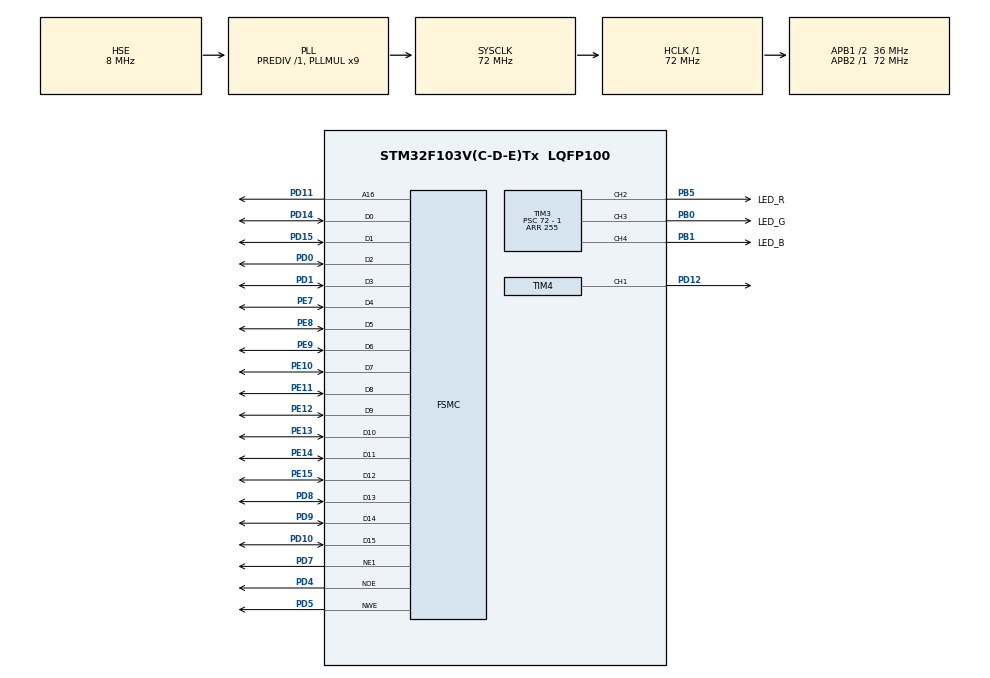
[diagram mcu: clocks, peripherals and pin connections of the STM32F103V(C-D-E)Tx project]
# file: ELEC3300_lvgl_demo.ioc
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FSMC.AddressSetupTime1=0
FSMC.BusTurnAroundDuration1=0
FSMC.DataSetupTime1=1
Mcu.Family=STM32F1
Mcu.Name=STM32F103V(C-D-E)Tx
Mcu.Package=LQFP100
NVIC.PriorityGroup=NVIC_PRIORITYGROUP_4
OSC_IN.Mode=HSE-External-Oscillator
OSC_IN.Signal=RCC_OSC_IN
OSC_OUT.Mode=HSE-External-Oscillator
OSC_OUT.Signal=RCC_OSC_OUT
PA13.Mode=Serial_Wire
PA13.Signal=SYS_JTMS-SWDIO
PA14.Mode=Serial_Wire
PA14.Signal=SYS_JTCK-SWCLK
PB0.GPIO_Label=LED_G
PB0.Signal=S_TIM3_CH3
PB1.GPIO_Label=LED_B
PB1.Signal=S_TIM3_CH4
PB5.GPIO_Label=LED_R
PB5.Signal=S_TIM3_CH2
PD0.Mode=16b-d1
PD0.Signal=FSMC_D2
PD1.Mode=16b-d1
PD1.Signal=FSMC_D3
PD10.Mode=16b-d1
PD10.Signal=FSMC_D15
PD11.Mode=A16_1
PD11.Signal=FSMC_A16
PD12.Signal=S_TIM4_CH1
PD14.Mode=16b-d1
PD14.Signal=FSMC_D0
PD15.Mode=16b-d1
PD15.Signal=FSMC_D1
PD4.Mode=Lcd1
PD4.Signal=FSMC_NOE
PD5.Mode=Lcd1
PD5.Signal=FSMC_NWE
PD7.Mode=NorPsramChipSelect1_1
PD7.Signal=FSMC_NE1
PD8.Mode=16b-d1
PD8.Signal=FSMC_D13
PD9.Mode=16b-d1
PD9.Signal=FSMC_D14
PE10.Mode=16b-d1
PE10.Signal=FSMC_D7
PE11.Mode=16b-d1
PE11.Signal=FSMC_D8
PE12.Mode=16b-d1
PE12.Signal=FSMC_D9
PE13.Mode=16b-d1
PE13.Signal=FSMC_D10
PE14.Mode=16b-d1
PE14.Signal=FSMC_D11
PE15.Mode=16b-d1
PE15.Signal=FSMC_D12
PE7.Mode=16b-d1
PE7.Signal=FSMC_D4
PE8.Mode=16b-d1
PE8.Signal=FSMC_D5
PE9.Mode=16b-d1
PE9.Signal=FSMC_D6
ProjectManager.HeapSize=0x0
ProjectManager.StackSize=0x1000
ProjectManager.TargetToolchain=Makefile
RCC.AHBFreq_Value=72000000
RCC.APB1CLKDivider=RCC_HCLK_DIV2
RCC.APB1Freq_Value=36000000
RCC.APB1TimFreq_Value=72000000
RCC.APB2Freq_Value=72000000
RCC.APB2TimFreq_Value=72000000
RCC.HCLKFreq_Value=72000000
RCC.PLLMUL=RCC_PLL_MUL9
RCC.PLLSourceVirtual=RCC_PLLSOURCE_HSE
RCC.SYSCLKFreq_VALUE=72000000
RCC.SYSCLKSource=RCC_SYSCLKSOURCE_PLLCLK
RCC.USBFreq_Value=72000000
SH.S_TIM3_CH2.0=TIM3_CH2,PWM Generation2 CH2
SH.S_TIM3_CH3.0=TIM3_CH3,PWM Generation3 CH3
SH.S_TIM3_CH4.0=TIM3_CH4,PWM Generation4 CH4
SH.S_TIM4_CH1.0=TIM4_CH1,PWM Generation1 CH1
TIM3.Channel-PWM\ Generation2\ CH2=TIM_CHANNEL_2
TIM3.Channel-PWM\ Generation3\ CH3=TIM_CHANNEL_3
TIM3.Channel-PWM\ Generation4\ CH4=TIM_CHANNEL_4
TIM3.OCPolarity_2=TIM_OCPOLARITY_LOW
TIM3.OCPolarity_3=TIM_OCPOLARITY_LOW
TIM3.OCPolarity_4=TIM_OCPOLARITY_LOW
TIM3.Period=255
TIM3.Prescaler=72 - 1
TIM3.Pulse-PWM\ Generation2\ CH2=0
TIM3.Pulse-PWM\ Generation3\ CH3=0
TIM3.Pulse-PWM\ Generation4\ CH4=0
TIM4.Channel-PWM\ Generation1\ CH1=TIM_CHANNEL_1
TIM4.OCPolarity_1=TIM_OCPOLARITY_LOW
TIM4.Period=255
TIM4.Prescaler=72 - 1
board=custom

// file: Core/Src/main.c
/* USER CODE BEGIN Header */
/**
  ******************************************************************************
  * @file           : main.c
  * @brief          : Main program body
  ******************************************************************************
  * @attention
  *
  * Copyright (c) 2024 STMicroelectronics.
  * All rights reserved.
  *
  * This software is licensed under terms that can be found in the LICENSE file
  * in the root directory of this software component.
  * If no LICENSE file comes with this software, it is provided AS-IS.
  *
  ******************************************************************************
  */
/* USER CODE END Header */
#include "main.h"
#include "tim.h"
#include "gpio.h"
#include "fsmc.h"

/* USER CODE BEGIN Includes */
#include "math.h"
#include "stdint.h"
#include "stdlib.h"

#include "lcd.h"

#include "lvgl.h"
#include "lv_demo_widgets.h"
#include "lv_port_disp.h"
#include "lv_port_indev.h"
/* USER CODE END Includes */

void SystemClock_Config(void);

int main(void)
{

  /* MCU Configuration--------------------------------------------------------*/

  /* Reset of all peripherals, Initializes the Flash interface and the Systick. */
  HAL_Init();

  /* Configure the system clock */
  SystemClock_Config();

  /* Initialize all configured peripherals */
  MX_GPIO_Init();
  MX_FSMC_Init();
  MX_TIM3_Init();
  MX_TIM4_Init();

  /* Infinite loop */
  /* USER CODE BEGIN WHILE */
  HAL_TIM_PWM_Start(&htim4, TIM_CHANNEL_1);
  htim4.Instance->CCR1 = 255;
  LCD_INIT();

  lv_init();
  lv_port_disp_init();
  // lv_port_indev_init();

  lv_demo_widgets();

  HAL_TIM_PWM_Start(&htim3, TIM_CHANNEL_2);
  HAL_TIM_PWM_Start(&htim3, TIM_CHANNEL_3);
  HAL_TIM_PWM_Start(&htim3, TIM_CHANNEL_4);

  float r_w = (rand()%100)/100.0f + 0.3f;
  float g_w = (rand()%100)/100.0f + 0.3f;
  float b_w = (rand()%100)/100.0f + 0.3f;

  float brightness = 20;

  float i = 0;
  while (1)
  {
    lv_task_handler();
    htim3.Instance->CCR2 = (uint8_t)(sin(i * r_w) * brightness + brightness);
    htim3.Instance->CCR3 = (uint8_t)(sin(i * g_w) * brightness + brightness);
    htim3.Instance->CCR4 = (uint8_t)(sin(i * b_w) * brightness + brightness);
    i += 0.1f;
    HAL_Delay(10);
    /* USER CODE END WHILE */

  }
}

void SystemClock_Config(void)
{
  RCC_OscInitTypeDef RCC_OscInitStruct = {0};
  RCC_ClkInitTypeDef RCC_ClkInitStruct = {0};

  /** Initializes the RCC Oscillators according to the specified parameters
  * in the RCC_OscInitTypeDef structure.
  */
  RCC_OscInitStruct.OscillatorType = RCC_OSCILLATORTYPE_HSE;
  RCC_OscInitStruct.HSEState = RCC_HSE_ON;
  RCC_OscInitStruct.HSEPredivValue = RCC_HSE_PREDIV_DIV1;
  RCC_OscInitStruct.HSIState = RCC_HSI_ON;
  RCC_OscInitStruct.PLL.PLLState = RCC_PLL_ON;
  RCC_OscInitStruct.PLL.PLLSource = RCC_PLLSOURCE_HSE;
  RCC_OscInitStruct.PLL.PLLMUL = RCC_PLL_MUL9;
  if (HAL_RCC_OscConfig(&RCC_OscInitStruct) != HAL_OK)
  {
    Error_Handler();
  }

  /** Initializes the CPU, AHB and APB buses clocks
  */
  RCC_ClkInitStruct.ClockType = RCC_CLOCKTYPE_HCLK|RCC_CLOCKTYPE_SYSCLK
                              |RCC_CLOCKTYPE_PCLK1|RCC_CLOCKTYPE_PCLK2;
  RCC_ClkInitStruct.SYSCLKSource = RCC_SYSCLKSOURCE_PLLCLK;
  RCC_ClkInitStruct.AHBCLKDivider = RCC_SYSCLK_DIV1;
  RCC_ClkInitStruct.APB1CLKDivider = RCC_HCLK_DIV2;
  RCC_ClkInitStruct.APB2CLKDivider = RCC_HCLK_DIV1;

  if (HAL_RCC_ClockConfig(&RCC_ClkInitStruct, FLASH_LATENCY_2) != HAL_OK)
  {
    Error_Handler();
  }
}

void Error_Handler(void)
{
  __disable_irq();
  while (1)
  {
  }
}
